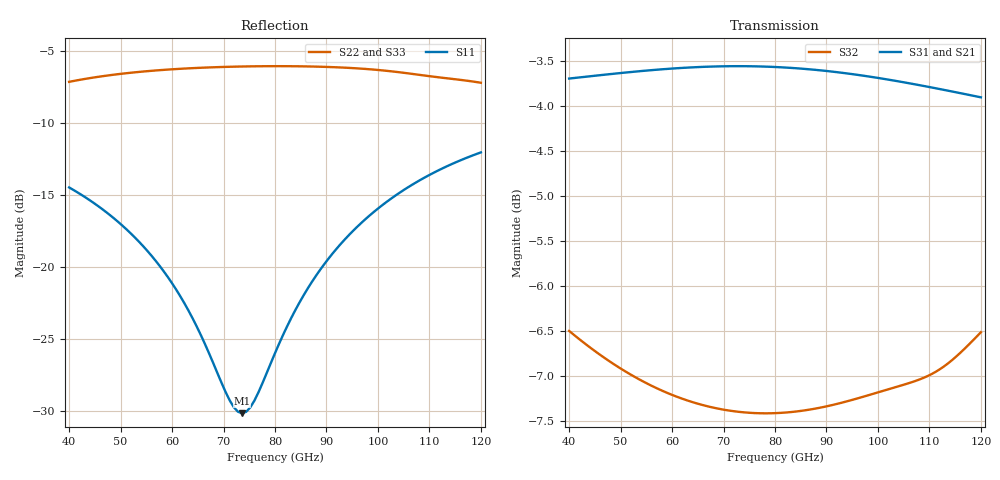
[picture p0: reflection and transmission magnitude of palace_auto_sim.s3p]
#  GHZ S DB R 50
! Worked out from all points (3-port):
!   101 points, 40 GHz to 120 GHz, reference 50 ohm
!   strongest paths, dB at 40 GHz, 60 GHz, 80 GHz, 100 GHz, 120 GHz:
!     S31: -3.7, -3.6, -3.6, -3.7, -3.9
!     S21: -3.7, -3.6, -3.6, -3.7, -3.9
!     S32: -6.5, -7.2, -7.4, -7.2, -6.5
!   lowest |S11| = -30.2 dB at 73.6 GHz (marker M1), VSWR 1.06, Z = 53.2 + j0.21 ohm
!   |S11| at or under -10 dB: start of sweep to end of sweep
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40  -14.49 125.5  -3.70 -45.4  -3.69 -45.4
    -3.70 -45.4  -7.16 45.1  -6.50 -100.1
    -3.69 -45.4  -6.50 -100.1  -7.18 45.1
57.6  -19.93 95.5  -3.60 -66.0  -3.59 -66.0
      -3.60 -66.0  -6.35 19.7  -7.15 -137.3
      -3.59 -66.0  -7.15 -137.3  -6.37 19.5
64  -23.58 77.5  -3.58 -73.6  -3.57 -73.7
    -3.58 -73.6  -6.21 11.8  -7.29 -150.5
    -3.57 -73.7  -7.29 -150.5  -6.23 11.7
71.2  -29.27 32.1  -3.57 -82.3  -3.56 -82.3
      -3.57 -82.3  -6.11 3.4  -7.38 -165.2
      -3.56 -82.3  -7.38 -165.2  -6.14 3.3
73.6  -30.16 3.6  -3.57 -85.2  -3.56 -85.2
      -3.57 -85.2  -6.09 0.7  -7.40 -170.1
      -3.56 -85.2  -7.40 -170.1  -6.12 0.5
76  -29.28 -24.9  -3.57 -88.1  -3.56 -88.1
    -3.57 -88.1  -6.08 -2.0  -7.41 -175.0
    -3.56 -88.1  -7.41 -175.0  -6.10 -2.2
80  -25.99 -56.3  -3.58 -92.9  -3.57 -93.0
    -3.58 -92.9  -6.07 -6.5  -7.41 176.9
    -3.57 -93.0  -7.41 176.9  -6.09 -6.7
87.2  -21.03 -83.0  -3.61 -101.6  -3.59 -101.7
      -3.61 -101.6  -6.09 -14.8  -7.37 162.0
      -3.59 -101.7  -7.37 162.0  -6.12 -14.9
96  -17.21 -101.4  -3.66 -112.2  -3.65 -112.3
    -3.66 -112.2  -6.22 -25.3  -7.25 143.7
    -3.65 -112.3  -7.25 143.7  -6.25 -25.5
120  -12.05 -136.3  -3.91 -140.3  -3.90 -140.5
     -3.91 -140.3  -7.22 -58.6  -6.51 93.2
     -3.90 -140.5  -6.51 93.2  -7.24 -59.0
